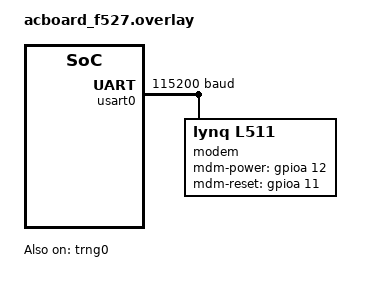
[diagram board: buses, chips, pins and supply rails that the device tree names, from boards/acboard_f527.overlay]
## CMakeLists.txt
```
# SPDX-License-Identifier: Apache-2.0

cmake_minimum_required(VERSION 3.20.0)

find_package(Zephyr REQUIRED HINTS $ENV{ZEPHYR_BASE})
project(acboard_l511_test)

target_sources(app PRIVATE src/main.c)
```

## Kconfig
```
# Copyright (c) 2026
# SPDX-License-Identifier: Apache-2.0

mainmenu "ACBoard L511 modem test"

source "Kconfig.zephyr"
```

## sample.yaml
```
sample:
  name: ACBoard Lynq L511 modem test
common:
  platform_allow:
    - acboard_f527
  tags:
    - modem
    - net
tests:
  sample.boards.acboard.l511_test:
    build_only: true
```

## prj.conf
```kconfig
CONFIG_GPIO=y
CONFIG_SERIAL=y
CONFIG_UART_ASYNC_API=y
CONFIG_LOG=y
CONFIG_PRINTK=y

CONFIG_MAIN_STACK_SIZE=4096
CONFIG_HEAP_MEM_POOL_SIZE=8192

# L511 cellular modem driver (auto-enabled from the DT node).
CONFIG_MODEM_LYNQ_L511=y

# Networking over PPP.
CONFIG_NETWORKING=y
CONFIG_NET_NATIVE=y
CONFIG_NET_IPV4=y
CONFIG_NET_UDP=y
CONFIG_NET_TCP=y
CONFIG_NET_SOCKETS=y
CONFIG_DNS_RESOLVER=y
CONFIG_NET_L2_PPP=y
CONFIG_NET_L2_PPP_PAP=y
CONFIG_NET_L2_PPP_PAP_USERNAME="cmnet"
CONFIG_NET_L2_PPP_PAP_PASSWORD="cmnet"
CONFIG_NET_L2_PPP_OPTION_DNS_USE=y
CONFIG_NET_MGMT=y
CONFIG_NET_MGMT_EVENT=y
CONFIG_NET_MGMT_EVENT_STACK_SIZE=2048
CONFIG_NET_CONNECTION_MANAGER=y

# Random source: GD32F527 hardware TRNG seeds a xoshiro PRNG for sys_rand_get.
CONFIG_ENTROPY_GENERATOR=y
CONFIG_ENTROPY_GD32_TRNG=y
CONFIG_XOSHIRO_RANDOM_GENERATOR=y
```

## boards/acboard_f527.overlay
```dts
#include <zephyr/dt-bindings/gpio/gpio.h>
#include <zephyr/dt-bindings/dma/gd32_dma.h>

/* Hardware TRNG provides entropy for the network stack / TLS. */
&trng0 {
	status = "okay";
};

&usart0 {
	status = "okay";
	current-speed = <115200>;
	pinctrl-0 = <&usart0_default>;
	pinctrl-names = "default";
	dmas = <&dma1 2 4 GD32_DMA_PRIORITY_VERY_HIGH 3>,
	       <&dma1 7 4 GD32_DMA_PRIORITY_HIGH 3>;
	dma-names = "rx", "tx";

	modem: l511 {
		compatible = "lynq,l511";
		mdm-power-gpios = <&gpioa 12 GPIO_ACTIVE_HIGH>;
		mdm-reset-gpios = <&gpioa 11 GPIO_ACTIVE_HIGH>;
	};
};
```

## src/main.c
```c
/*
 * Copyright (c) 2026
 * SPDX-License-Identifier: Apache-2.0
 *
 * Brings up the Lynq L511 cellular modem through its driver and waits for the
 * PPP network interface to reach connectivity, then prints the assigned IP.
 */

#include <zephyr/kernel.h>
#include <zephyr/net/net_event.h>
#include <zephyr/net/net_if.h>
#include <zephyr/net/net_mgmt.h>
#include <zephyr/sys/printk.h>

static K_SEM_DEFINE(net_connected, 0, 1);
static struct net_mgmt_event_callback l4_cb;

static void l4_handler(struct net_mgmt_event_callback *cb, uint64_t event, struct net_if *iface)
{
	ARG_UNUSED(cb);
	ARG_UNUSED(iface);

	switch (event) {
	case NET_EVENT_L4_CONNECTED:
		printk("network connected\n");
		k_sem_give(&net_connected);
		break;
	case NET_EVENT_L4_DISCONNECTED:
		printk("network disconnected\n");
		break;
	default:
		break;
	}
}

static void print_addresses(struct net_if *iface)
{
	char buf[NET_IPV4_ADDR_LEN];

	for (int i = 0; i < NET_IF_MAX_IPV4_ADDR; i++) {
		struct net_if_addr *unicast = &iface->config.ip.ipv4->unicast[i].ipv4;

		if (!unicast->is_used) {
			continue;
		}
		printk("IPv4: %s\n",
		       net_addr_ntop(AF_INET, &unicast->address.in_addr, buf, sizeof(buf)));
	}
}

int main(void)
{
	printk("\nACBoard Lynq L511 modem test\n");

	net_mgmt_init_event_callback(&l4_cb, l4_handler,
				     NET_EVENT_L4_CONNECTED | NET_EVENT_L4_DISCONNECTED);
	net_mgmt_add_event_callback(&l4_cb);

	printk("powering modem and dialing (up to 120s)...\n");
	if (k_sem_take(&net_connected, K_SECONDS(120)) != 0) {
		printk("no connectivity within timeout\n");
		return 0;
	}

	struct net_if *iface = net_if_get_default();

	if (iface != NULL && iface->config.ip.ipv4 != NULL) {
		print_addresses(iface);
	}
	printk("L511 PPP link up\n");
	return 0;
}
```
